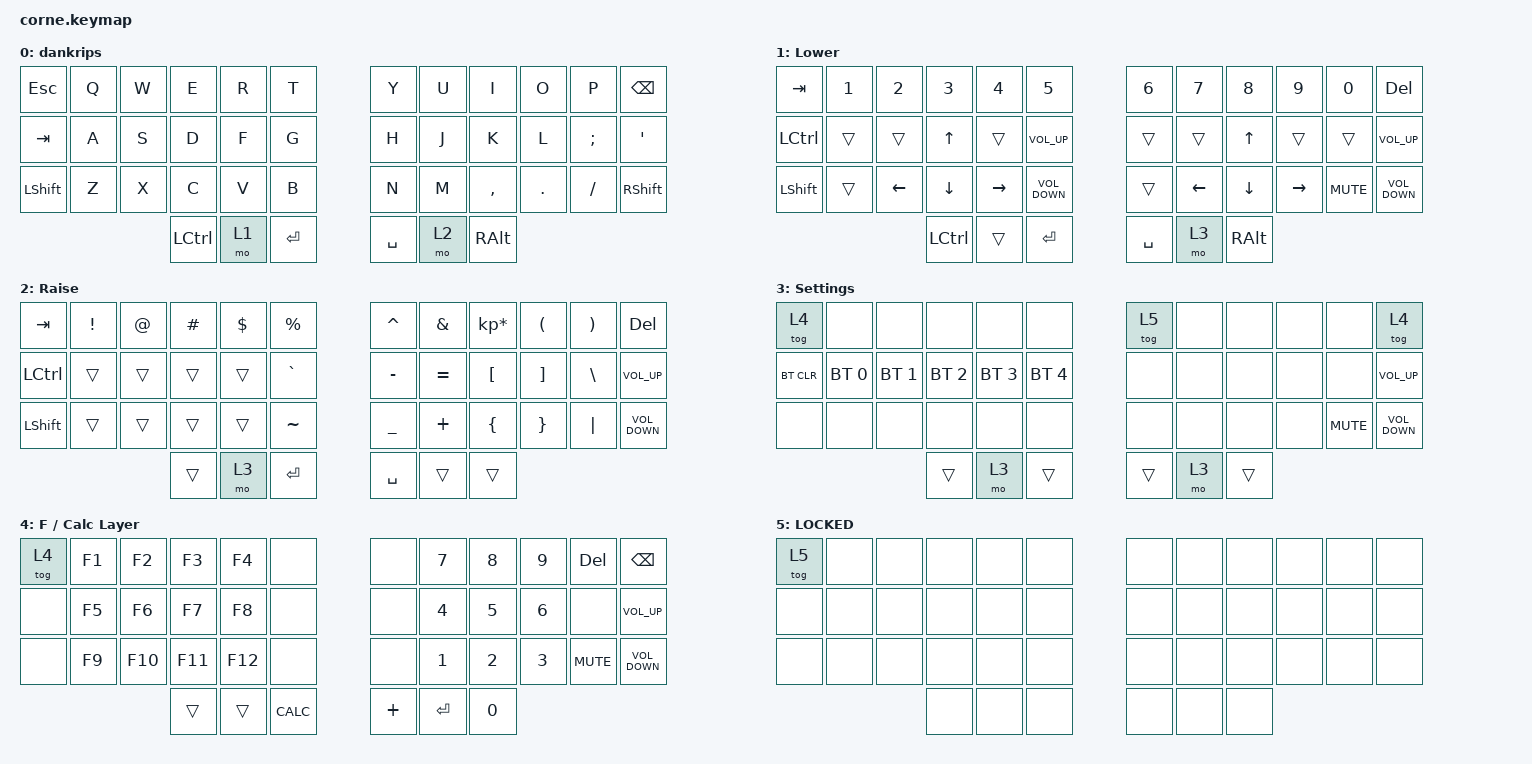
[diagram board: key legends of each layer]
/*
 * Copyright (c) 2020 The ZMK Contributors
 *
 * SPDX-License-Identifier: MIT
 */

#include <behaviors.dtsi>
#include <dt-bindings/zmk/bt.h>
#include <dt-bindings/zmk/keys.h>

/ {
    combos {
        compatible = "zmk,combos";

        del {
            bindings = <&kp DEL>;
            key-positions = <10 11>;
            timeout-ms = <50>;
            layers = <0>;
        };
    };

    keymap {
        compatible = "zmk,keymap";

        default_layer {
            // -----------------------------------------------------------------------------------------
            // |  ESC |  Q  |  W  |  E  |  R  |  T  |   |  Y  |  U   |  I  |  O  |  P  | BKSP |
            // |  TAB |  A  |  S  |  D  |  F  |  G  |   |  H  |  J   |  K  |  L  |  ;  |  '   |
            // | SHFT |  Z  |  X  |  C  |  V  |  B  |   |  N  |  M   |  ,  |  .  |  /  | SHIFT|
            //                    |LCTRL| LWR | ENT |   | SPC | RSE  | ALT |

            label = "dankrips";
            bindings = <
&kp ESC         &kp Q  &kp W  &kp E      &kp R  &kp T      &kp Y      &kp U  &kp I      &kp O    &kp P     &kp BSPC
&kp TAB         &kp A  &kp S  &kp D      &kp F  &kp G      &kp H      &kp J  &kp K      &kp L    &kp SEMI  &kp SINGLE_QUOTE
&kp LEFT_SHIFT  &kp Z  &kp X  &kp C      &kp V  &kp B      &kp N      &kp M  &kp COMMA  &kp DOT  &kp FSLH  &kp RSHFT
                              &kp LCTRL  &mo 1  &kp RET    &kp SPACE  &mo 2  &kp RALT
            >;
        };

        lower_layer {
            // -----------------------------------------------------------------------------------------
            // |  TAB |  1  |  2  |  3  |  4  |  5  |   |  6  |  7  |  8  |  9  |  0  | BKSP |
            // | BTCLR| BT1 | BT2 | BT3 | BT4 | BT5 |   |     |     |  UP |     |     | VOLUP|
            // | SHFT |     |     |     |     |     |   |     | LFT | DWN | RGT |     | VOLUD|
            //                    |LCTRL|     | SPC |   | ENT |     | ALT |

            label = "Lower";
            bindings = <
&kp TAB    &kp N1  &kp N2    &kp N3        &kp N4     &kp N5               &kp N6     &kp N7    &kp N8    &kp N9     &kp N0      &kp DEL
&kp LCTRL  &trans  &trans    &kp UP_ARROW  &trans     &kp C_VOLUME_UP      &trans     &trans    &kp UP    &trans     &trans      &kp C_VOLUME_UP
&kp LSHFT  &trans  &kp LEFT  &kp DOWN      &kp RIGHT  &kp C_VOLUME_DOWN    &trans     &kp LEFT  &kp DOWN  &kp RIGHT  &kp C_MUTE  &kp C_VOLUME_DOWN
                             &kp LCTRL     &trans     &kp RET              &kp SPACE  &mo 3     &kp RALT
            >;
        };

        raise_layer {
            // -----------------------------------------------------------------------------------------
            // |  TAB |  !  |  @  |  #  |  $  |  %  |   |  ^  |  &  |  *  |  (  |  )  | BKSP |
            // | CTRL |     |     |     |     |     |   |  -  |  =  |  [  |  ]  |  \  |  `   |
            // | SHFT |     |     |     |     |     |   |  _  |  +  |  {  |  }  | "|" |  ~   |
            //                    | GUI |     | SPC |   | ENT |     | ALT |

            label = "Raise";
            bindings = <
&kp TAB    &kp EXCL  &kp AT  &kp HASH  &kp DLLR  &kp PRCNT    &kp CARET  &kp AMPS   &kp KP_ASTERISK  &kp LPAR  &kp RPAR  &kp DEL
&kp LCTRL  &trans    &trans  &trans    &trans    &kp GRAVE    &kp MINUS  &kp EQUAL  &kp LBKT         &kp RBKT  &kp BSLH  &kp C_VOLUME_UP
&kp LSHFT  &trans    &trans  &trans    &trans    &kp TILDE    &kp UNDER  &kp PLUS   &kp LBRC         &kp RBRC  &kp PIPE  &kp C_VOLUME_DOWN
                             &trans    &mo 3     &kp RET      &kp SPACE  &trans     &trans
            >;
        };

        layer_3 {
            bindings = <
&tog 4      &none         &none         &none         &none         &none           &tog 5  &none  &none   &none  &none       &tog 4
&bt BT_CLR  &bt BT_SEL 0  &bt BT_SEL 1  &bt BT_SEL 2  &bt BT_SEL 3  &bt BT_SEL 4    &none   &none  &none   &none  &none       &kp C_VOLUME_UP
&none       &none         &none         &none         &none         &none           &none   &none  &none   &none  &kp C_MUTE  &kp C_VOLUME_DOWN
                                        &trans        &mo 3         &trans          &trans  &mo 3  &trans
            >;

            label = "Settings";
        };

        layer_4 {
            bindings = <
&tog 4  &kp F1  &kp F2   &kp F3   &kp F4   &none         &none     &kp N7        &kp N8        &kp N9        &kp DEL     &kp BACKSPACE
&none   &kp F5  &kp F6   &kp F7   &kp F8   &none         &none     &kp NUMBER_4  &kp N5        &kp NUMBER_6  &none       &kp C_VOLUME_UP
&none   &kp F9  &kp F10  &kp F11  &kp F12  &none         &none     &kp NUMBER_1  &kp NUMBER_2  &kp NUMBER_3  &kp C_MUTE  &kp C_VOLUME_DOWN
                         &trans   &trans   &kp K_CALC    &kp PLUS  &kp ENTER     &kp N0
            >;

            label = "F / Calc Layer";
        };

        layer_5 {
            bindings = <
&tog 5  &none  &none  &none  &none  &none    &none  &none  &none  &none  &none  &none
&none   &none  &none  &none  &none  &none    &none  &none  &none  &none  &none  &none
&none   &none  &none  &none  &none  &none    &none  &none  &none  &none  &none  &none
                      &none  &none  &none    &none  &none  &none
            >;

            label = "LOCKED";
        };
    };
};
